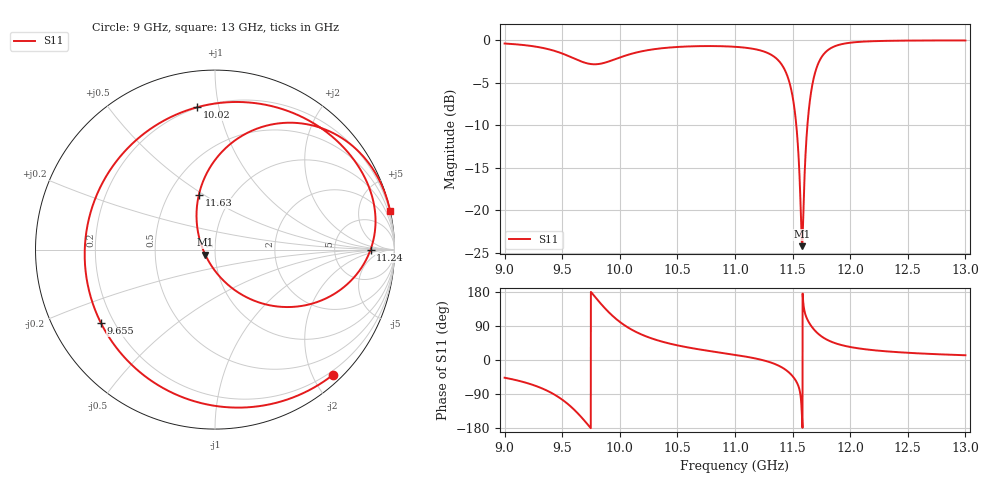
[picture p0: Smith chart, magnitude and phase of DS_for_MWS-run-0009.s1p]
! TOUCHSTONE file generated by CST DESIGN STUDIO
! Date and time: Tue Feb  4 17:41:46 2025
! Project name: C:\Work\MatlabApps\UnitCellOptimizationMatlab\CST\unitcell.cst
! Tree item: Tasks\Sweep1\SPara1\S-Parameters
! Header version: 2024
! Port assignment regex: !\s*Touchstone port\s*([0-9]+)\s*=\s*(CST MWS port|CST DES external port|CST DES block port)\s*(.+)\s* \(\"(.*)\"\)(\s*mode\s*([0-9]+))?.*
! Touchstone port assignment:
! Touchstone port 1 = CST DES external port 1 ("")
# GHz S MA R 50
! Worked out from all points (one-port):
!   4001 points, 9 GHz to 13 GHz, reference 50 ohm
!   lowest |S11| = -24.3 dB at 11.58 GHz (marker M1), VSWR 1.13, Z = 44.8 - j2.5 ohm
!   |S11| at or under -10 dB: 11.53 GHz to 11.63 GHz (96.41 MHz wide, 0.832 % of centre)
!   S11 on the Smith chart (normalised r, x): 9 GHz: 0.13, -2.31; 9.655 GHz: 0.15, -0.29; 10.02 GHz: 0.20, +0.86; 11.24 GHz: 14, -0; 11.63 GHz: 0.70, +0.48; 13 GHz: 0.04, +9.12
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9  0.9585 -46.7
9.269  0.9191 -68.2
9.4  0.8804 -85.8
9.5  0.8372 -104.6
9.578  0.7962 -123.8
9.655  0.7561 -147.1
9.729  0.7293 -173.0
9.801  0.724 160.7
9.901  0.7501 127.0
10  0.7928 100.6
10.015  0.7994 97.2
10.234  0.8738 61.6
10.5  0.9148 38.7
11  0.9168 13.6
11.236  0.8667 -0.0
11.391  0.7427 -16.8
11.5  0.4665 -42.7
11.536  0.296 -58.8
11.57  0.1027 -96.6
11.582  0.06129 -153.0
11.595  0.1062 144.8
11.629  0.3187 106.4
11.674  0.5599 84.7
11.741  0.7756 64.5
11.85  0.9137 46.5
12  0.969 34.3
12.5  0.9974 19.0
13  0.9991 12.5
